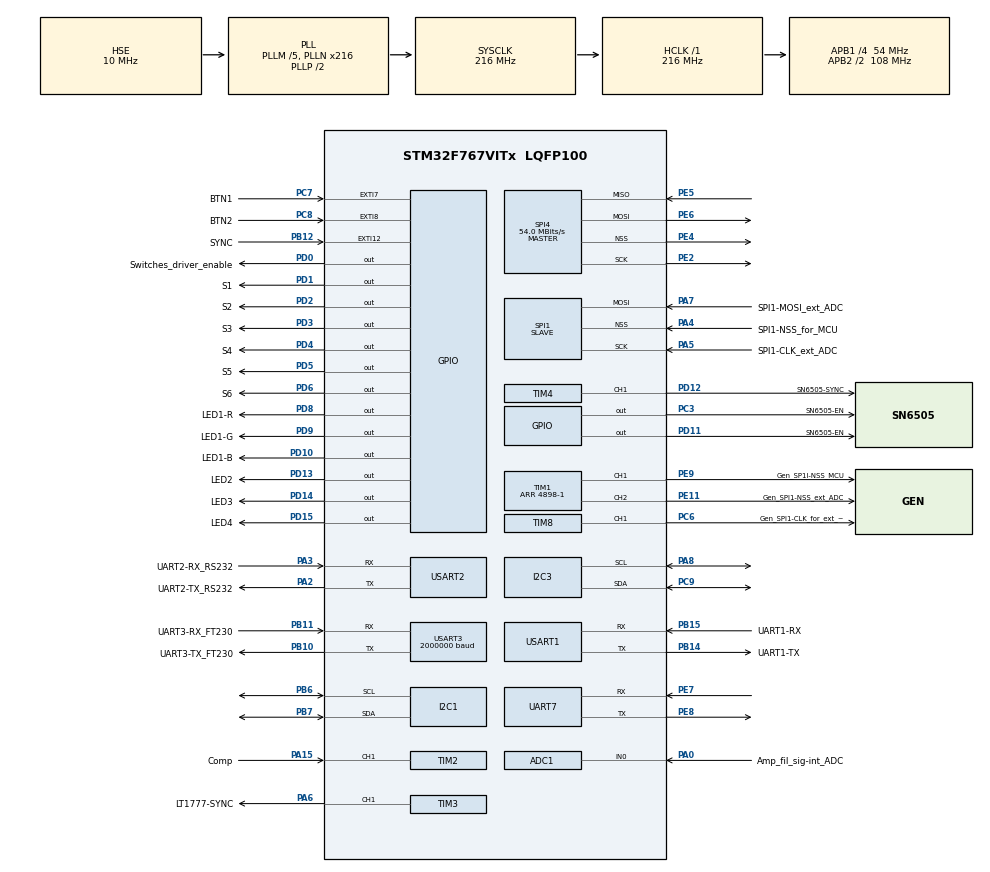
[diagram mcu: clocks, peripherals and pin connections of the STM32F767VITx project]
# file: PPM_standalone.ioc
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ADC1.Channel-1\#ChannelRegularConversion=ADC_CHANNEL_0
ADC1.ExternalTrigConv=ADC_EXTERNALTRIGCONV_T6_TRGO
ADC1.NbrOfConversionFlag=1
ADC1.Rank-1\#ChannelRegularConversion=1
ADC1.SamplingTime-1\#ChannelRegularConversion=ADC_SAMPLETIME_15CYCLES
ADC1.ScanConvMode=ADC_SCAN_DISABLE
ADC1.master=1
Dma.ADC1.1.Direction=DMA_PERIPH_TO_MEMORY
Dma.ADC1.1.FIFOMode=DMA_FIFOMODE_DISABLE
Dma.ADC1.1.Instance=DMA2_Stream4
Dma.ADC1.1.MemDataAlignment=DMA_MDATAALIGN_HALFWORD
Dma.ADC1.1.MemInc=DMA_MINC_ENABLE
Dma.ADC1.1.Mode=DMA_NORMAL
Dma.ADC1.1.PeriphDataAlignment=DMA_PDATAALIGN_HALFWORD
Dma.ADC1.1.PeriphInc=DMA_PINC_DISABLE
Dma.ADC1.1.Priority=DMA_PRIORITY_LOW
Dma.Request0=SPI1_RX
Dma.Request1=ADC1
Dma.Request2=TIM2_CH1
Dma.SPI1_RX.0.Direction=DMA_PERIPH_TO_MEMORY
Dma.SPI1_RX.0.FIFOMode=DMA_FIFOMODE_DISABLE
Dma.SPI1_RX.0.Instance=DMA2_Stream2
Dma.SPI1_RX.0.MemDataAlignment=DMA_MDATAALIGN_HALFWORD
Dma.SPI1_RX.0.MemInc=DMA_MINC_ENABLE
Dma.SPI1_RX.0.Mode=DMA_NORMAL
Dma.SPI1_RX.0.PeriphDataAlignment=DMA_PDATAALIGN_HALFWORD
Dma.SPI1_RX.0.PeriphInc=DMA_PINC_DISABLE
Dma.SPI1_RX.0.Priority=DMA_PRIORITY_MEDIUM
Dma.TIM2_CH1.2.Direction=DMA_PERIPH_TO_MEMORY
Dma.TIM2_CH1.2.FIFOMode=DMA_FIFOMODE_DISABLE
Dma.TIM2_CH1.2.Instance=DMA1_Stream5
Dma.TIM2_CH1.2.MemDataAlignment=DMA_MDATAALIGN_WORD
Dma.TIM2_CH1.2.MemInc=DMA_MINC_ENABLE
Dma.TIM2_CH1.2.Mode=DMA_NORMAL
Dma.TIM2_CH1.2.PeriphDataAlignment=DMA_PDATAALIGN_WORD
Dma.TIM2_CH1.2.PeriphInc=DMA_PINC_DISABLE
Dma.TIM2_CH1.2.Priority=DMA_PRIORITY_LOW
I2C1.Timing=0x20404768
I2C3.Timing=0x20404768
Mcu.Family=STM32F7
Mcu.Name=STM32F767VITx
Mcu.Package=LQFP100
NVIC.DMA1_Stream5_IRQn=true\:0\:0\:false\:false\:true\:false\:true
NVIC.DMA2_Stream2_IRQn=true\:0\:0\:false\:false\:true\:false\:true
NVIC.DMA2_Stream4_IRQn=true\:0\:0\:true\:false\:true\:false\:true
NVIC.EXTI15_10_IRQn=true\:0\:0\:false\:false\:true\:true\:true
NVIC.EXTI9_5_IRQn=true\:0\:0\:false\:false\:true\:true\:true
NVIC.PriorityGroup=NVIC_PRIORITYGROUP_4
NVIC.TIM1_BRK_TIM9_IRQn=true\:0\:0\:false\:false\:true\:true\:true
NVIC.TIM1_UP_TIM10_IRQn=true\:0\:0\:false\:false\:true\:true\:true
NVIC.TIM2_IRQn=true\:1\:0\:true\:false\:true\:true\:true
NVIC.TIM3_IRQn=true\:1\:0\:true\:false\:true\:true\:true
NVIC.TIM4_IRQn=true\:1\:0\:true\:false\:true\:true\:true
NVIC.TIM5_IRQn=true\:1\:0\:true\:false\:true\:true\:true
NVIC.TIM6_DAC_IRQn=true\:1\:0\:true\:false\:true\:true\:true
NVIC.TIM8_CC_IRQn=true\:1\:0\:true\:false\:true\:true\:true
NVIC.USART3_IRQn=true\:0\:0\:true\:false\:true\:true\:true
PA0/WKUP.GPIO_Label=Amp_fil_sig-int_ADC
PA0/WKUP.Signal=ADCx_IN0
PA13.Mode=Trace_Asynchronous_SW
PA13.Signal=SYS_JTMS-SWDIO
PA14.Mode=Trace_Asynchronous_SW
PA14.Signal=SYS_JTCK-SWCLK
PA15.GPIO_Label=Comp
PA15.Signal=S_TIM2_CH1_ETR
PA2.GPIO_Label=UART2-TX_RS232
PA2.Mode=Asynchronous
PA2.Signal=USART2_TX
PA3.GPIO_Label=UART2-RX_RS232
PA3.Mode=Asynchronous
PA3.Signal=USART2_RX
PA4.GPIO_Label=SPI1-NSS_for_MCU
PA4.Mode=NSS_Signal_Hard_Input
PA4.Signal=SPI1_NSS
PA5.GPIO_Label=SPI1-CLK_ext_ADC
PA5.Mode=RX_Only_Simplex_Unidirect_Slave
PA5.Signal=SPI1_SCK
PA6.GPIO_Label=LT1777-SYNC
PA6.Signal=S_TIM3_CH1
PA7.GPIO_Label=SPI1-MOSI_ext_ADC
PA7.Mode=RX_Only_Simplex_Unidirect_Slave
PA7.Signal=SPI1_MOSI
PA8.Mode=I2C
PA8.Signal=I2C3_SCL
PB10.GPIO_Label=UART3-TX_FT230
PB10.Mode=Asynchronous
PB10.Signal=USART3_TX
PB11.GPIO_Label=UART3-RX_FT230
PB11.Mode=Asynchronous
PB11.Signal=USART3_RX
PB12.GPIO_Label=SYNC
PB12.Signal=GPXTI12
PB14.GPIO_Label=UART1-TX
PB14.Mode=Asynchronous
PB14.Signal=USART1_TX
PB15.GPIO_Label=UART1-RX
PB15.Mode=Asynchronous
PB15.Signal=USART1_RX
PB3.Mode=Trace_Asynchronous_SW
PB3.Signal=SYS_JTDO-SWO
PB6.Mode=I2C
PB6.Signal=I2C1_SCL
PB7.Mode=I2C
PB7.Signal=I2C1_SDA
PC14/OSC32_IN.Mode=LSE-External-Oscillator
PC14/OSC32_IN.Signal=RCC_OSC32_IN
PC15/OSC32_OUT.Mode=LSE-External-Oscillator
PC15/OSC32_OUT.Signal=RCC_OSC32_OUT
PC3.GPIO_Label=SN6505-EN
PC3.Signal=GPIO_Output
PC6.GPIO_Label=Gen_SPI1-CLK_for_ext_ADC
PC6.Signal=S_TIM8_CH1
PC7.GPIO_Label=BTN1
PC7.GPIO_ModeDefaultEXTI=GPIO_MODE_IT_FALLING
PC7.Signal=GPXTI7
PC8.GPIO_Label=BTN2
PC8.GPIO_ModeDefaultEXTI=GPIO_MODE_IT_FALLING
PC8.Signal=GPXTI8
PC9.Mode=I2C
PC9.Signal=I2C3_SDA
PD0.GPIO_Label=Switches_driver_enable
PD0.Signal=GPIO_Output
PD1.GPIO_Label=S1
PD1.Signal=GPIO_Output
PD10.GPIO_Label=LED1-B
PD10.Signal=GPIO_Output
PD11.GPIO_Label=SN6505-EN
PD11.Signal=GPIO_Output
PD12.GPIO_Label=SN6505-SYNC
PD12.Signal=S_TIM4_CH1
PD13.GPIO_Label=LED2
PD13.Signal=GPIO_Output
PD14.GPIO_Label=LED3
PD14.Signal=GPIO_Output
PD15.GPIO_Label=LED4
PD15.Signal=GPIO_Output
PD2.GPIO_Label=S2
PD2.Signal=GPIO_Output
PD3.GPIO_Label=S3
PD3.Signal=GPIO_Output
PD4.GPIO_Label=S4
PD4.Signal=GPIO_Output
PD5.GPIO_Label=S5
PD5.Signal=GPIO_Output
PD6.GPIO_Label=S6
PD6.Signal=GPIO_Output
PD8.GPIO_Label=LED1-R
PD8.Signal=GPIO_Output
PD9.GPIO_Label=LED1-G
PD9.Signal=GPIO_Output
PE11.GPIO_Label=Gen_SPI1-NSS_ext_ADC
PE11.Signal=S_TIM1_CH2
PE2.Mode=Full_Duplex_Master
PE2.Signal=SPI4_SCK
PE4.Mode=NSS_Signal_Hard_Output
PE4.Signal=SPI4_NSS
PE5.Mode=Full_Duplex_Master
PE5.Signal=SPI4_MISO
PE6.Mode=Full_Duplex_Master
PE6.Signal=SPI4_MOSI
PE7.Mode=Asynchronous
PE7.Signal=UART7_RX
PE8.Mode=Asynchronous
PE8.Signal=UART7_TX
PE9.GPIO_Label=Gen_SP1I-NSS_MCU
PE9.Signal=S_TIM1_CH1
PH0/OSC_IN.Mode=HSE-External-Oscillator
PH0/OSC_IN.Signal=RCC_OSC_IN
PH1/OSC_OUT.Mode=HSE-External-Oscillator
PH1/OSC_OUT.Signal=RCC_OSC_OUT
ProjectManager.HeapSize=0x200
ProjectManager.StackSize=0x400
ProjectManager.TargetToolchain=STM32CubeIDE
RCC.AHBFreq_Value=216000000
RCC.APB1CLKDivider=RCC_HCLK_DIV4
RCC.APB1Freq_Value=54000000
RCC.APB1TimFreq_Value=216000000
RCC.APB2CLKDivider=RCC_HCLK_DIV2
RCC.APB2Freq_Value=108000000
RCC.APB2TimFreq_Value=216000000
RCC.CortexFreq_Value=216000000
RCC.HCLKFreq_Value=216000000
RCC.HSE_VALUE=10000000
RCC.HSI_VALUE=16000000
RCC.PLLM=5
RCC.PLLN=216
RCC.PLLSourceVirtual=RCC_PLLSOURCE_HSE
RCC.RCC_TIM_PRescaler_Selection=RCC_TIMPRES_ACTIVATED
RCC.SYSCLKFreq_VALUE=216000000
RCC.SYSCLKSource=RCC_SYSCLKSOURCE_PLLCLK
RCC.USBFreq_Value=216000000
RCC.VCOOutputFreq_Value=432000000
SH.ADCx_IN0.0=ADC1_IN0,IN0
SH.S_TIM1_CH1.0=TIM1_CH1,PWM Generation1 CH1
SH.S_TIM1_CH2.0=TIM1_CH2,PWM Generation2 CH2
SH.S_TIM2_CH1_ETR.0=TIM2_CH1,Input_Capture1_from_TI1
SH.S_TIM3_CH1.0=TIM3_CH1,PWM Generation1 CH1
SH.S_TIM4_CH1.0=TIM4_CH1,PWM Generation1 CH1
SH.S_TIM8_CH1.0=TIM8_CH1,PWM Generation1 CH1
SPI1.DataSize=SPI_DATASIZE_16BIT
SPI1.Direction=SPI_DIRECTION_2LINES_RXONLY
SPI1.Mode=SPI_MODE_SLAVE
SPI1.VirtualNSS=VM_NSSHARD
SPI1.VirtualType=VM_SLAVE
SPI4.BaudRatePrescaler=SPI_BAUDRATEPRESCALER_2
SPI4.CalculateBaudRate=54.0 MBits/s
SPI4.Direction=SPI_DIRECTION_2LINES
SPI4.Mode=SPI_MODE_MASTER
SPI4.VirtualNSS=VM_NSSHARD
SPI4.VirtualType=VM_MASTER
TIM1.Channel-PWM\ Generation1\ CH1=TIM_CHANNEL_1
TIM1.Channel-PWM\ Generation2\ CH2=TIM_CHANNEL_2
TIM1.OCIdleState_1=TIM_OCIDLESTATE_SET
TIM1.OCIdleState_2=TIM_OCIDLESTATE_SET
TIM1.OCMode_PWM-PWM\ Generation1\ CH1=TIM_OCMODE_PWM2
TIM1.OCPolarity_1=TIM_OCPOLARITY_LOW
TIM1.OCPolarity_2=TIM_OCPOLARITY_LOW
TIM1.Period=4898-1
TIM1.Pulse-PWM\ Generation1\ CH1=864+10
TIM1.Pulse-PWM\ Generation2\ CH2=3000
TIM1.TIM_MasterOutputTrigger=TIM_TRGO_UPDATE
TIM1.TIM_MasterSlaveMode=TIM_MASTERSLAVEMODE_ENABLE
TIM2.Channel-Input_Capture1_from_TI1=TIM_CHANNEL_1
TIM2.Period=0xffffffff
TIM3.Channel-PWM\ Generation1\ CH1=TIM_CHANNEL_1
TIM4.AutoReloadPreload=TIM_AUTORELOAD_PRELOAD_ENABLE
TIM4.Channel-PWM\ Generation1\ CH1=TIM_CHANNEL_1
TIM4.Period=0
TIM4.TIM_MasterOutputTrigger=TIM_TRGO_UPDATE
TIM5.Period=(21600/2) -1
TIM6.AutoReloadPreload=TIM_AUTORELOAD_PRELOAD_DISABLE
TIM6.Period=4898-1
TIM6.TIM_MasterOutputTrigger=TIM_TRGO_UPDATE
TIM8.Channel-PWM\ Generation1\ CH1=TIM_CHANNEL_1
TIM8.OCMode_PWM-PWM\ Generation1\ CH1=TIM_OCMODE_PWM2
TIM8.Period=108-1
TIM8.Pulse-PWM\ Generation1\ CH1=54
TIM8.RepetitionCounter=24
USART1.VirtualMode-Asynchronous=VM_ASYNC
USART2.VirtualMode-Asynchronous=VM_ASYNC
USART3.BaudRate=2000000
USART3.StopBits=STOPBITS_1
USART3.VirtualMode-Asynchronous=VM_ASYNC
VP_TIM1_VS_ClockSourceINT.Mode=Internal
VP_TIM3_VS_ClockSourceITR.Mode=TriggerSource_ITR0
VP_TIM5_VS_ClockSourceINT.Mode=Internal
VP_TIM6_VS_ClockSourceINT.Mode=Enable_Timer
VP_TIM8_VS_ClockSourceINT.Mode=Internal
VP_TIM8_VS_ClockSourceITR.Mode=TriggerSource_ITR0
VP_TIM8_VS_ControllerModeTrigger.Mode=Trigger Mode
VP_TIM8_VS_OPM.Mode=OPM_bit
board=custom

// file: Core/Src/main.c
/* USER CODE BEGIN Header */
/**
 ******************************************************************************
 * @file           : main.c
 * @brief          : Main program body
 ******************************************************************************
 * @attention
 *
 * <h2><center>&copy; Copyright (c) 2020 STMicroelectronics.
 * All rights reserved.</center></h2>
 *
 * This software component is licensed by ST under BSD 3-Clause license,
 * the "License"; You may not use this file except in compliance with the
 * License. You may obtain a copy of the License at:
 *                        opensource.org/licenses/BSD-3-Clause
 *
 ******************************************************************************
 */
/* USER CODE END Header */

#include "main.h"

/* USER CODE BEGIN Includes */
#include "float.h"
#include "string.h"
#include "stdio.h"
#include <stdlib.h>
#include "config.h"
#include "communication.h"
#include "delay.h"
#include "switchingCircuitController.h"

/* USER CODE END Includes */

/* USER CODE BEGIN PD */
#define TIMER  TIM4
/* USER CODE END PD */

ADC_HandleTypeDef hadc1;
DMA_HandleTypeDef hdma_adc1;

I2C_HandleTypeDef hi2c1;
I2C_HandleTypeDef hi2c3;

SPI_HandleTypeDef hspi1;
SPI_HandleTypeDef hspi4;
DMA_HandleTypeDef hdma_spi1_rx;

TIM_HandleTypeDef htim1;
TIM_HandleTypeDef htim2;
TIM_HandleTypeDef htim3;
TIM_HandleTypeDef htim4;
TIM_HandleTypeDef htim5;
TIM_HandleTypeDef htim6;
TIM_HandleTypeDef htim8;
DMA_HandleTypeDef hdma_tim2_ch1;

UART_HandleTypeDef huart7;
UART_HandleTypeDef huart1;
UART_HandleTypeDef huart2;
UART_HandleTypeDef huart3;

/* USER CODE BEGIN PV */

uint8_t filledBuffersExtADC = 0;
uint8_t filledBuffersIntADC = 0;
uint32_t samplesTotal = 44100 * 2;

uint32_t IC_Value1 = 0;
uint32_t IC_Value2 = 0;
uint32_t difference = 0;
uint32_t frequency = 0;
uint8_t firstCapturedSample = 0;  // 0- not captured, 1- captured

/* USER CODE END PV */

void SystemClock_Config(void);
static void MX_GPIO_Init(void);
static void MX_DMA_Init(void);
static void MX_ADC1_Init(void);
static void MX_SPI1_Init(void);
static void MX_TIM1_Init(void);
static void MX_TIM2_Init(void);
static void MX_TIM3_Init(void);
static void MX_TIM4_Init(void);
static void MX_TIM8_Init(void);
static void MX_USART1_UART_Init(void);
static void MX_USART2_UART_Init(void);
static void MX_USART3_UART_Init(void);
static void MX_I2C1_Init(void);
static void MX_I2C3_Init(void);
static void MX_SPI4_Init(void);
static void MX_TIM5_Init(void);
static void MX_UART7_Init(void);
static void MX_TIM6_Init(void);

int main(void) {

	/* MCU Configuration--------------------------------------------------------*/

	/* Reset of all peripherals, Initializes the Flash interface and the Systick. */
	HAL_Init();

	/* Configure the system clock */
	SystemClock_Config();

	/* Initialize all configured peripherals */
	MX_GPIO_Init();
	MX_DMA_Init();
	MX_ADC1_Init();
	MX_SPI1_Init();
	MX_TIM1_Init();
	MX_TIM2_Init();
	MX_TIM3_Init();
	MX_TIM4_Init();
	MX_TIM8_Init();
	MX_USART1_UART_Init();
	MX_USART2_UART_Init();
	MX_USART3_UART_Init();
	MX_I2C1_Init();
	MX_I2C3_Init();
	MX_SPI4_Init();
	MX_TIM5_Init();
	MX_UART7_Init();
	MX_TIM6_Init();
	/* USER CODE BEGIN 2 */
	initialization();
	HAL_Delay(10);
	/* USER CODE END 2 */

	/* Infinite loop */
	while (1) {

		/* USER CODE BEGIN 3 */

		//parse text every time before polarization
		if (newDataInBuffer()) {
			parseText(huart3);
		}

		// if new measurement technique was updated - change state regarding to the update
		if (stateCanBeUpdated()) {
			updateState();
		}

		// normal mode with polarization
		if (ploarizationCanRun()) {
			runPolarizationSequence();
			if (dataReadyToSendBeforeMeasurement()) {
				sendMeasuredData(huart3);
			}
		}

		// measurement
		if (measurementCanRun()) {
			runMeasurementMethod();
		}

		//
		if (dataReadyToSendAfterMeasurement()) {
			sendMeasuredData(huart3);
		}
		if (isWaitingForSync()) {
			set_LED1(0, 0, 1);
		}

		// idle state - if no method is active and there are no data to be sent
		if (stateIsIdle()) {
			set_LED1(0, 0, 0);
		}

	}

	/* USER CODE END 3 */
}

void SystemClock_Config(void) {
	RCC_OscInitTypeDef RCC_OscInitStruct = { 0 };
	RCC_ClkInitTypeDef RCC_ClkInitStruct = { 0 };
	RCC_PeriphCLKInitTypeDef PeriphClkInitStruct = { 0 };

	/** Configure LSE Drive Capability
	 */
	HAL_PWR_EnableBkUpAccess();
	/** Configure the main internal regulator output voltage
	 */
	__HAL_RCC_PWR_CLK_ENABLE();
	__HAL_PWR_VOLTAGESCALING_CONFIG(PWR_REGULATOR_VOLTAGE_SCALE1);
	/** Initializes the CPU, AHB and APB busses clocks
	 */
	RCC_OscInitStruct.OscillatorType = RCC_OSCILLATORTYPE_HSE;
	RCC_OscInitStruct.HSEState = RCC_HSE_ON;
	RCC_OscInitStruct.PLL.PLLState = RCC_PLL_ON;
	RCC_OscInitStruct.PLL.PLLSource = RCC_PLLSOURCE_HSE;
	RCC_OscInitStruct.PLL.PLLM = 5;
	RCC_OscInitStruct.PLL.PLLN = 216;
	RCC_OscInitStruct.PLL.PLLP = RCC_PLLP_DIV2;
	RCC_OscInitStruct.PLL.PLLQ = 2;
	if (HAL_RCC_OscConfig(&RCC_OscInitStruct) != HAL_OK) {
		Error_Handler();
	}
	/** Activate the Over-Drive mode
	 */
	if (HAL_PWREx_EnableOverDrive() != HAL_OK) {
		Error_Handler();
	}
	/** Initializes the CPU, AHB and APB busses clocks
	 */
	RCC_ClkInitStruct.ClockType = RCC_CLOCKTYPE_HCLK | RCC_CLOCKTYPE_SYSCLK | RCC_CLOCKTYPE_PCLK1 | RCC_CLOCKTYPE_PCLK2;
	RCC_ClkInitStruct.SYSCLKSource = RCC_SYSCLKSOURCE_PLLCLK;
	RCC_ClkInitStruct.AHBCLKDivider = RCC_SYSCLK_DIV1;
	RCC_ClkInitStruct.APB1CLKDivider = RCC_HCLK_DIV4;
	RCC_ClkInitStruct.APB2CLKDivider = RCC_HCLK_DIV2;

	if (HAL_RCC_ClockConfig(&RCC_ClkInitStruct, FLASH_LATENCY_7) != HAL_OK) {
		Error_Handler();
	}
	PeriphClkInitStruct.PeriphClockSelection = RCC_PERIPHCLK_TIM | RCC_PERIPHCLK_USART1 | RCC_PERIPHCLK_USART2 | RCC_PERIPHCLK_USART3 | RCC_PERIPHCLK_UART7 | RCC_PERIPHCLK_I2C1 | RCC_PERIPHCLK_I2C3;
	PeriphClkInitStruct.Usart1ClockSelection = RCC_USART1CLKSOURCE_PCLK2;
	PeriphClkInitStruct.Usart2ClockSelection = RCC_USART2CLKSOURCE_PCLK1;
	PeriphClkInitStruct.Usart3ClockSelection = RCC_USART3CLKSOURCE_PCLK1;
	PeriphClkInitStruct.Uart7ClockSelection = RCC_UART7CLKSOURCE_PCLK1;
	PeriphClkInitStruct.I2c1ClockSelection = RCC_I2C1CLKSOURCE_PCLK1;
	PeriphClkInitStruct.I2c3ClockSelection = RCC_I2C3CLKSOURCE_PCLK1;
	PeriphClkInitStruct.TIMPresSelection = RCC_TIMPRES_ACTIVATED;

	if (HAL_RCCEx_PeriphCLKConfig(&PeriphClkInitStruct) != HAL_OK) {
		Error_Handler();
	}
}

static void MX_ADC1_Init(void) {

	ADC_ChannelConfTypeDef sConfig = { 0 };

	/** Configure the global features of the ADC (Clock, Resolution, Data Alignment and number of conversion)
	 */
	hadc1.Instance = ADC1;
	hadc1.Init.ClockPrescaler = ADC_CLOCK_SYNC_PCLK_DIV4;
	hadc1.Init.Resolution = ADC_RESOLUTION_12B;
	hadc1.Init.ScanConvMode = ADC_SCAN_DISABLE;
	hadc1.Init.ContinuousConvMode = DISABLE;
	hadc1.Init.DiscontinuousConvMode = DISABLE;
	hadc1.Init.ExternalTrigConvEdge = ADC_EXTERNALTRIGCONVEDGE_RISING;
	hadc1.Init.ExternalTrigConv = ADC_EXTERNALTRIGCONV_T6_TRGO;
	hadc1.Init.DataAlign = ADC_DATAALIGN_RIGHT;
	hadc1.Init.NbrOfConversion = 1;
	hadc1.Init.DMAContinuousRequests = DISABLE;
	hadc1.Init.EOCSelection = ADC_EOC_SINGLE_CONV;
	if (HAL_ADC_Init(&hadc1) != HAL_OK) {
		Error_Handler();
	}
	/** Configure for the selected ADC regular channel its corresponding rank in the sequencer and its sample time.
	 */
	sConfig.Channel = ADC_CHANNEL_0;
	sConfig.Rank = ADC_REGULAR_RANK_1;
	sConfig.SamplingTime = ADC_SAMPLETIME_15CYCLES;
	if (HAL_ADC_ConfigChannel(&hadc1, &sConfig) != HAL_OK) {
		Error_Handler();
	}

}

static void MX_I2C1_Init(void) {

	hi2c1.Instance = I2C1;
	hi2c1.Init.Timing = 0x20404768;
	hi2c1.Init.OwnAddress1 = 0;
	hi2c1.Init.AddressingMode = I2C_ADDRESSINGMODE_7BIT;
	hi2c1.Init.DualAddressMode = I2C_DUALADDRESS_DISABLE;
	hi2c1.Init.OwnAddress2 = 0;
	hi2c1.Init.OwnAddress2Masks = I2C_OA2_NOMASK;
	hi2c1.Init.GeneralCallMode = I2C_GENERALCALL_DISABLE;
	hi2c1.Init.NoStretchMode = I2C_NOSTRETCH_DISABLE;
	if (HAL_I2C_Init(&hi2c1) != HAL_OK) {
		Error_Handler();
	}
	/** Configure Analogue filter
	 */
	if (HAL_I2CEx_ConfigAnalogFilter(&hi2c1, I2C_ANALOGFILTER_ENABLE) != HAL_OK) {
		Error_Handler();
	}
	/** Configure Digital filter
	 */
	if (HAL_I2CEx_ConfigDigitalFilter(&hi2c1, 0) != HAL_OK) {
		Error_Handler();
	}

}

static void MX_I2C3_Init(void) {

	hi2c3.Instance = I2C3;
	hi2c3.Init.Timing = 0x20404768;
	hi2c3.Init.OwnAddress1 = 0;
	hi2c3.Init.AddressingMode = I2C_ADDRESSINGMODE_7BIT;
	hi2c3.Init.DualAddressMode = I2C_DUALADDRESS_DISABLE;
	hi2c3.Init.OwnAddress2 = 0;
	hi2c3.Init.OwnAddress2Masks = I2C_OA2_NOMASK;
	hi2c3.Init.GeneralCallMode = I2C_GENERALCALL_DISABLE;
	hi2c3.Init.NoStretchMode = I2C_NOSTRETCH_DISABLE;
	if (HAL_I2C_Init(&hi2c3) != HAL_OK) {
		Error_Handler();
	}
	/** Configure Analogue filter
	 */
	if (HAL_I2CEx_ConfigAnalogFilter(&hi2c3, I2C_ANALOGFILTER_ENABLE) != HAL_OK) {
		Error_Handler();
	}
	/** Configure Digital filter
	 */
	if (HAL_I2CEx_ConfigDigitalFilter(&hi2c3, 0) != HAL_OK) {
		Error_Handler();
	}

}

static void MX_SPI1_Init(void) {

	/* SPI1 parameter configuration*/
	hspi1.Instance = SPI1;
	hspi1.Init.Mode = SPI_MODE_SLAVE;
	hspi1.Init.Direction = SPI_DIRECTION_2LINES_RXONLY;
	hspi1.Init.DataSize = SPI_DATASIZE_16BIT;
	hspi1.Init.CLKPolarity = SPI_POLARITY_LOW;
	hspi1.Init.CLKPhase = SPI_PHASE_1EDGE;
	hspi1.Init.NSS = SPI_NSS_HARD_INPUT;
	hspi1.Init.FirstBit = SPI_FIRSTBIT_MSB;
	hspi1.Init.TIMode = SPI_TIMODE_DISABLE;
	hspi1.Init.CRCCalculation = SPI_CRCCALCULATION_DISABLE;
	hspi1.Init.CRCPolynomial = 7;
	hspi1.Init.CRCLength = SPI_CRC_LENGTH_DATASIZE;
	hspi1.Init.NSSPMode = SPI_NSS_PULSE_DISABLE;
	if (HAL_SPI_Init(&hspi1) != HAL_OK) {
		Error_Handler();
	}

}

static void MX_SPI4_Init(void) {

	/* SPI4 parameter configuration*/
	hspi4.Instance = SPI4;
	hspi4.Init.Mode = SPI_MODE_MASTER;
	hspi4.Init.Direction = SPI_DIRECTION_2LINES;
	hspi4.Init.DataSize = SPI_DATASIZE_4BIT;
	hspi4.Init.CLKPolarity = SPI_POLARITY_LOW;
	hspi4.Init.CLKPhase = SPI_PHASE_1EDGE;
	hspi4.Init.NSS = SPI_NSS_HARD_OUTPUT;
	hspi4.Init.BaudRatePrescaler = SPI_BAUDRATEPRESCALER_2;
	hspi4.Init.FirstBit = SPI_FIRSTBIT_MSB;
	hspi4.Init.TIMode = SPI_TIMODE_DISABLE;
	hspi4.Init.CRCCalculation = SPI_CRCCALCULATION_DISABLE;
	hspi4.Init.CRCPolynomial = 7;
	hspi4.Init.CRCLength = SPI_CRC_LENGTH_DATASIZE;
	hspi4.Init.NSSPMode = SPI_NSS_PULSE_ENABLE;
	if (HAL_SPI_Init(&hspi4) != HAL_OK) {
		Error_Handler();
	}

}

static void MX_TIM1_Init(void) {

	TIM_ClockConfigTypeDef sClockSourceConfig = { 0 };
	TIM_MasterConfigTypeDef sMasterConfig = { 0 };
	TIM_OC_InitTypeDef sConfigOC = { 0 };
	TIM_BreakDeadTimeConfigTypeDef sBreakDeadTimeConfig = { 0 };

	htim1.Instance = TIM1;
	htim1.Init.Prescaler = 0;
	htim1.Init.CounterMode = TIM_COUNTERMODE_UP;
	htim1.Init.Period = 4898 - 1;
	htim1.Init.ClockDivision = TIM_CLOCKDIVISION_DIV1;
	htim1.Init.RepetitionCounter = 0;
	htim1.Init.AutoReloadPreload = TIM_AUTORELOAD_PRELOAD_DISABLE;
	if (HAL_TIM_Base_Init(&htim1) != HAL_OK) {
		Error_Handler();
	}
	sClockSourceConfig.ClockSource = TIM_CLOCKSOURCE_INTERNAL;
	if (HAL_TIM_ConfigClockSource(&htim1, &sClockSourceConfig) != HAL_OK) {
		Error_Handler();
	}
	if (HAL_TIM_PWM_Init(&htim1) != HAL_OK) {
		Error_Handler();
	}
	sMasterConfig.MasterOutputTrigger = TIM_TRGO_UPDATE;
	sMasterConfig.MasterOutputTrigger2 = TIM_TRGO2_RESET;
	sMasterConfig.MasterSlaveMode = TIM_MASTERSLAVEMODE_ENABLE;
	if (HAL_TIMEx_MasterConfigSynchronization(&htim1, &sMasterConfig) != HAL_OK) {
		Error_Handler();
	}
	sConfigOC.OCMode = TIM_OCMODE_PWM2;
	sConfigOC.Pulse = 864 + 10;
	sConfigOC.OCPolarity = TIM_OCPOLARITY_LOW;
	sConfigOC.OCNPolarity = TIM_OCNPOLARITY_HIGH;
	sConfigOC.OCFastMode = TIM_OCFAST_DISABLE;
	sConfigOC.OCIdleState = TIM_OCIDLESTATE_SET;
	sConfigOC.OCNIdleState = TIM_OCNIDLESTATE_RESET;
	if (HAL_TIM_PWM_ConfigChannel(&htim1, &sConfigOC, TIM_CHANNEL_1) != HAL_OK) {
		Error_Handler();
	}
	sConfigOC.OCMode = TIM_OCMODE_PWM1;
	sConfigOC.Pulse = 3000;
	if (HAL_TIM_PWM_ConfigChannel(&htim1, &sConfigOC, TIM_CHANNEL_2) != HAL_OK) {
		Error_Handler();
	}
	sBreakDeadTimeConfig.OffStateRunMode = TIM_OSSR_DISABLE;
	sBreakDeadTimeConfig.OffStateIDLEMode = TIM_OSSI_DISABLE;
	sBreakDeadTimeConfig.LockLevel = TIM_LOCKLEVEL_OFF;
	sBreakDeadTimeConfig.DeadTime = 0;
	sBreakDeadTimeConfig.BreakState = TIM_BREAK_DISABLE;
	sBreakDeadTimeConfig.BreakPolarity = TIM_BREAKPOLARITY_HIGH;
	sBreakDeadTimeConfig.BreakFilter = 0;
	sBreakDeadTimeConfig.Break2State = TIM_BREAK2_DISABLE;
	sBreakDeadTimeConfig.Break2Polarity = TIM_BREAK2POLARITY_HIGH;
	sBreakDeadTimeConfig.Break2Filter = 0;
	sBreakDeadTimeConfig.AutomaticOutput = TIM_AUTOMATICOUTPUT_DISABLE;
	if (HAL_TIMEx_ConfigBreakDeadTime(&htim1, &sBreakDeadTimeConfig) != HAL_OK) {
		Error_Handler();
	}
	HAL_TIM_MspPostInit(&htim1);

}

static void MX_TIM2_Init(void) {

	TIM_MasterConfigTypeDef sMasterConfig = { 0 };
	TIM_IC_InitTypeDef sConfigIC = { 0 };

	htim2.Instance = TIM2;
	htim2.Init.Prescaler = 0;
	htim2.Init.CounterMode = TIM_COUNTERMODE_UP;
	htim2.Init.Period = 0xffffffff;
	htim2.Init.ClockDivision = TIM_CLOCKDIVISION_DIV1;
	htim2.Init.AutoReloadPreload = TIM_AUTORELOAD_PRELOAD_DISABLE;
	if (HAL_TIM_IC_Init(&htim2) != HAL_OK) {
		Error_Handler();
	}
	sMasterConfig.MasterOutputTrigger = TIM_TRGO_RESET;
	sMasterConfig.MasterSlaveMode = TIM_MASTERSLAVEMODE_DISABLE;
	if (HAL_TIMEx_MasterConfigSynchronization(&htim2, &sMasterConfig) != HAL_OK) {
		Error_Handler();
	}
	sConfigIC.ICPolarity = TIM_INPUTCHANNELPOLARITY_RISING;
	sConfigIC.ICSelection = TIM_ICSELECTION_DIRECTTI;
	sConfigIC.ICPrescaler = TIM_ICPSC_DIV1;
	sConfigIC.ICFilter = 0;
	if (HAL_TIM_IC_ConfigChannel(&htim2, &sConfigIC, TIM_CHANNEL_1) != HAL_OK) {
		Error_Handler();
	}

}

static void MX_TIM3_Init(void) {

	TIM_SlaveConfigTypeDef sSlaveConfig = { 0 };
	TIM_MasterConfigTypeDef sMasterConfig = { 0 };
	TIM_OC_InitTypeDef sConfigOC = { 0 };

	htim3.Instance = TIM3;
	htim3.Init.Prescaler = 0;
	htim3.Init.CounterMode = TIM_COUNTERMODE_UP;
	htim3.Init.Period = 0;
	htim3.Init.ClockDivision = TIM_CLOCKDIVISION_DIV1;
	htim3.Init.AutoReloadPreload = TIM_AUTORELOAD_PRELOAD_DISABLE;
	if (HAL_TIM_Base_Init(&htim3) != HAL_OK) {
		Error_Handler();
	}
	if (HAL_TIM_PWM_Init(&htim3) != HAL_OK) {
		Error_Handler();
	}
	sSlaveConfig.SlaveMode = TIM_SLAVEMODE_DISABLE;
	sSlaveConfig.InputTrigger = TIM_TS_ITR0;
	if (HAL_TIM_SlaveConfigSynchro(&htim3, &sSlaveConfig) != HAL_OK) {
		Error_Handler();
	}
	sMasterConfig.MasterOutputTrigger = TIM_TRGO_RESET;
	sMasterConfig.MasterSlaveMode = TIM_MASTERSLAVEMODE_DISABLE;
	if (HAL_TIMEx_MasterConfigSynchronization(&htim3, &sMasterConfig) != HAL_OK) {
		Error_Handler();
	}
	sConfigOC.OCMode = TIM_OCMODE_PWM1;
	sConfigOC.Pulse = 0;
	sConfigOC.OCPolarity = TIM_OCPOLARITY_HIGH;
	sConfigOC.OCFastMode = TIM_OCFAST_DISABLE;
	if (HAL_TIM_PWM_ConfigChannel(&htim3, &sConfigOC, TIM_CHANNEL_1) != HAL_OK) {
		Error_Handler();
	}
	HAL_TIM_MspPostInit(&htim3);

}

static void MX_TIM4_Init(void) {

	TIM_MasterConfigTypeDef sMasterConfig = { 0 };
	TIM_OC_InitTypeDef sConfigOC = { 0 };

	htim4.Instance = TIM4;
	htim4.Init.Prescaler = 0;
	htim4.Init.CounterMode = TIM_COUNTERMODE_UP;
	htim4.Init.Period = 0;
	htim4.Init.ClockDivision = TIM_CLOCKDIVISION_DIV1;
	htim4.Init.AutoReloadPreload = TIM_AUTORELOAD_PRELOAD_ENABLE;
	if (HAL_TIM_PWM_Init(&htim4) != HAL_OK) {
		Error_Handler();
	}
	sMasterConfig.MasterOutputTrigger = TIM_TRGO_UPDATE;
	sMasterConfig.MasterSlaveMode = TIM_MASTERSLAVEMODE_DISABLE;
	if (HAL_TIMEx_MasterConfigSynchronization(&htim4, &sMasterConfig) != HAL_OK) {
		Error_Handler();
	}
	sConfigOC.OCMode = TIM_OCMODE_PWM1;
	sConfigOC.Pulse = 0;
	sConfigOC.OCPolarity = TIM_OCPOLARITY_HIGH;
	sConfigOC.OCFastMode = TIM_OCFAST_DISABLE;
	if (HAL_TIM_PWM_ConfigChannel(&htim4, &sConfigOC, TIM_CHANNEL_1) != HAL_OK) {
		Error_Handler();
	}
	HAL_TIM_MspPostInit(&htim4);

}

static void MX_TIM5_Init(void) {

	TIM_ClockConfigTypeDef sClockSourceConfig = { 0 };
	TIM_MasterConfigTypeDef sMasterConfig = { 0 };

	htim5.Instance = TIM5;
	htim5.Init.Prescaler = 0;
	htim5.Init.CounterMode = TIM_COUNTERMODE_UP;
	htim5.Init.Period = (21600 / 2) - 1;
	htim5.Init.ClockDivision = TIM_CLOCKDIVISION_DIV1;
	htim5.Init.AutoReloadPreload = TIM_AUTORELOAD_PRELOAD_DISABLE;
	if (HAL_TIM_Base_Init(&htim5) != HAL_OK) {
		Error_Handler();
	}
	sClockSourceConfig.ClockSource = TIM_CLOCKSOURCE_INTERNAL;
	if (HAL_TIM_ConfigClockSource(&htim5, &sClockSourceConfig) != HAL_OK) {
		Error_Handler();
	}
	sMasterConfig.MasterOutputTrigger = TIM_TRGO_RESET;
	sMasterConfig.MasterSlaveMode = TIM_MASTERSLAVEMODE_DISABLE;
	if (HAL_TIMEx_MasterConfigSynchronization(&htim5, &sMasterConfig) != HAL_OK) {
		Error_Handler();
	}

}

static void MX_TIM6_Init(void) {

	TIM_MasterConfigTypeDef sMasterConfig = { 0 };

	htim6.Instance = TIM6;
	htim6.Init.Prescaler = 0;
	htim6.Init.CounterMode = TIM_COUNTERMODE_UP;
	htim6.Init.Period = 4898 - 1;
	htim6.Init.AutoReloadPreload = TIM_AUTORELOAD_PRELOAD_DISABLE;
	if (HAL_TIM_Base_Init(&htim6) != HAL_OK) {
		Error_Handler();
	}
	sMasterConfig.MasterOutputTrigger = TIM_TRGO_UPDATE;
	sMasterConfig.MasterSlaveMode = TIM_MASTERSLAVEMODE_DISABLE;
	if (HAL_TIMEx_MasterConfigSynchronization(&htim6, &sMasterConfig) != HAL_OK) {
		Error_Handler();
	}

}

static void MX_TIM8_Init(void) {

	TIM_ClockConfigTypeDef sClockSourceConfig = { 0 };
	TIM_SlaveConfigTypeDef sSlaveConfig = { 0 };
	TIM_MasterConfigTypeDef sMasterConfig = { 0 };
	TIM_OC_InitTypeDef sConfigOC = { 0 };
	TIM_BreakDeadTimeConfigTypeDef sBreakDeadTimeConfig = { 0 };

	htim8.Instance = TIM8;
	htim8.Init.Prescaler = 0;
	htim8.Init.CounterMode = TIM_COUNTERMODE_UP;
	htim8.Init.Period = 108 - 1;
	htim8.Init.ClockDivision = TIM_CLOCKDIVISION_DIV1;
	htim8.Init.RepetitionCounter = 24;
	htim8.Init.AutoReloadPreload = TIM_AUTORELOAD_PRELOAD_DISABLE;
	if (HAL_TIM_Base_Init(&htim8) != HAL_OK) {
		Error_Handler();
	}
	sClockSourceConfig.ClockSource = TIM_CLOCKSOURCE_INTERNAL;
	if (HAL_TIM_ConfigClockSource(&htim8, &sClockSourceConfig) != HAL_OK) {
		Error_Handler();
	}
	if (HAL_TIM_PWM_Init(&htim8) != HAL_OK) {
		Error_Handler();
	}
	if (HAL_TIM_OnePulse_Init(&htim8, TIM_OPMODE_SINGLE) != HAL_OK) {
		Error_Handler();
	}
	sSlaveConfig.SlaveMode = TIM_SLAVEMODE_TRIGGER;
	sSlaveConfig.InputTrigger = TIM_TS_ITR0;
	if (HAL_TIM_SlaveConfigSynchro(&htim8, &sSlaveConfig) != HAL_OK) {
		Error_Handler();
	}
	sMasterConfig.MasterOutputTrigger = TIM_TRGO_RESET;
	sMasterConfig.MasterOutputTrigger2 = TIM_TRGO2_RESET;
	sMasterConfig.MasterSlaveMode = TIM_MASTERSLAVEMODE_DISABLE;
	if (HAL_TIMEx_MasterConfigSynchronization(&htim8, &sMasterConfig) != HAL_OK) {
		Error_Handler();
	}
	sConfigOC.OCMode = TIM_OCMODE_PWM2;
	sConfigOC.Pulse = 54;
	sConfigOC.OCPolarity = TIM_OCPOLARITY_HIGH;
	sConfigOC.OCNPolarity = TIM_OCNPOLARITY_HIGH;
	sConfigOC.OCFastMode = TIM_OCFAST_DISABLE;
	sConfigOC.OCIdleState = TIM_OCIDLESTATE_RESET;
	sConfigOC.OCNIdleState = TIM_OCNIDLESTATE_RESET;
	if (HAL_TIM_PWM_ConfigChannel(&htim8, &sConfigOC, TIM_CHANNEL_1) != HAL_OK) {
		Error_Handler();
	}
	sBreakDeadTimeConfig.OffStateRunMode = TIM_OSSR_DISABLE;
	sBreakDeadTimeConfig.OffStateIDLEMode = TIM_OSSI_DISABLE;
	sBreakDeadTimeConfig.LockLevel = TIM_LOCKLEVEL_OFF;
	sBreakDeadTimeConfig.DeadTime = 0;
	sBreakDeadTimeConfig.BreakState = TIM_BREAK_DISABLE;
	sBreakDeadTimeConfig.BreakPolarity = TIM_BREAKPOLARITY_HIGH;
	sBreakDeadTimeConfig.BreakFilter = 0;
	sBreakDeadTimeConfig.Break2State = TIM_BREAK2_DISABLE;
	sBreakDeadTimeConfig.Break2Polarity = TIM_BREAK2POLARITY_HIGH;
	sBreakDeadTimeConfig.Break2Filter = 0;
	sBreakDeadTimeConfig.AutomaticOutput = TIM_AUTOMATICOUTPUT_DISABLE;
	if (HAL_TIMEx_ConfigBreakDeadTime(&htim8, &sBreakDeadTimeConfig) != HAL_OK) {
		Error_Handler();
	}
	HAL_TIM_MspPostInit(&htim8);

}

static void MX_UART7_Init(void) {

	huart7.Instance = UART7;
	huart7.Init.BaudRate = 115200;
	huart7.Init.WordLength = UART_WORDLENGTH_8B;
	huart7.Init.StopBits = UART_STOPBITS_1;
	huart7.Init.Parity = UART_PARITY_NONE;
	huart7.Init.Mode = UART_MODE_TX_RX;
	huart7.Init.HwFlowCtl = UART_HWCONTROL_NONE;
	huart7.Init.OverSampling = UART_OVERSAMPLING_16;
	huart7.Init.OneBitSampling = UART_ONE_BIT_SAMPLE_DISABLE;
	huart7.AdvancedInit.AdvFeatureInit = UART_ADVFEATURE_NO_INIT;
	if (HAL_UART_Init(&huart7) != HAL_OK) {
		Error_Handler();
	}

}

static void MX_USART1_UART_Init(void) {

	huart1.Instance = USART1;
	huart1.Init.BaudRate = 115200;
	huart1.Init.WordLength = UART_WORDLENGTH_8B;
	huart1.Init.StopBits = UART_STOPBITS_1;
	huart1.Init.Parity = UART_PARITY_NONE;
	huart1.Init.Mode = UART_MODE_TX_RX;
	huart1.Init.HwFlowCtl = UART_HWCONTROL_NONE;
	huart1.Init.OverSampling = UART_OVERSAMPLING_16;
	huart1.Init.OneBitSampling = UART_ONE_BIT_SAMPLE_DISABLE;
	huart1.AdvancedInit.AdvFeatureInit = UART_ADVFEATURE_NO_INIT;
	if (HAL_UART_Init(&huart1) != HAL_OK) {
		Error_Handler();
	}

}

static void MX_USART2_UART_Init(void) {

	huart2.Instance = USART2;
	huart2.Init.BaudRate = 115200;
	huart2.Init.WordLength = UART_WORDLENGTH_8B;
	huart2.Init.StopBits = UART_STOPBITS_1;
	huart2.Init.Parity = UART_PARITY_NONE;
	huart2.Init.Mode = UART_MODE_TX_RX;
	huart2.Init.HwFlowCtl = UART_HWCONTROL_NONE;
	huart2.Init.OverSampling = UART_OVERSAMPLING_16;
	huart2.Init.OneBitSampling = UART_ONE_BIT_SAMPLE_DISABLE;
	huart2.AdvancedInit.AdvFeatureInit = UART_ADVFEATURE_NO_INIT;
	if (HAL_UART_Init(&huart2) != HAL_OK) {
		Error_Handler();
	}

}

static void MX_USART3_UART_Init(void) {

	huart3.Instance = USART3;
	huart3.Init.BaudRate = 2000000;
	huart3.Init.WordLength = UART_WORDLENGTH_8B;
	huart3.Init.StopBits = UART_STOPBITS_1;
	huart3.Init.Parity = UART_PARITY_NONE;
	huart3.Init.Mode = UART_MODE_TX_RX;
	huart3.Init.HwFlowCtl = UART_HWCONTROL_NONE;
	huart3.Init.OverSampling = UART_OVERSAMPLING_16;
	huart3.Init.OneBitSampling = UART_ONE_BIT_SAMPLE_DISABLE;
	huart3.AdvancedInit.AdvFeatureInit = UART_ADVFEATURE_NO_INIT;
	if (HAL_UART_Init(&huart3) != HAL_OK) {
		Error_Handler();
	}

}

static void MX_DMA_Init(void) {

	/* DMA controller clock enable */
	__HAL_RCC_DMA2_CLK_ENABLE();
	__HAL_RCC_DMA1_CLK_ENABLE();

	/* DMA interrupt init */
	/* DMA1_Stream5_IRQn interrupt configuration */
	HAL_NVIC_SetPriority(DMA1_Stream5_IRQn, 0, 0);
	HAL_NVIC_EnableIRQ(DMA1_Stream5_IRQn);
	/* DMA2_Stream2_IRQn interrupt configuration */
	HAL_NVIC_SetPriority(DMA2_Stream2_IRQn, 0, 0);
	HAL_NVIC_EnableIRQ(DMA2_Stream2_IRQn);
	/* DMA2_Stream4_IRQn interrupt configuration */
	HAL_NVIC_SetPriority(DMA2_Stream4_IRQn, 0, 0);
	HAL_NVIC_EnableIRQ(DMA2_Stream4_IRQn);

}

static void MX_GPIO_Init(void) {
	GPIO_InitTypeDef GPIO_InitStruct = { 0 };

	/* GPIO Ports Clock Enable */
	__HAL_RCC_GPIOE_CLK_ENABLE();
	__HAL_RCC_GPIOC_CLK_ENABLE();
	__HAL_RCC_GPIOH_CLK_ENABLE();
	__HAL_RCC_GPIOA_CLK_ENABLE();
	__HAL_RCC_GPIOB_CLK_ENABLE();
	__HAL_RCC_GPIOD_CLK_ENABLE();

	/*Configure GPIO pin Output Level */
	HAL_GPIO_WritePin(SN6505_EN_GPIO_Port, SN6505_EN_Pin, GPIO_PIN_RESET);

	/*Configure GPIO pin Output Level */
	HAL_GPIO_WritePin(GPIOD,
	LED1_R_Pin | LED1_G_Pin | LED1_B_Pin | SN6505_END11_Pin | LED2_Pin | LED3_Pin | LED4_Pin | Switches_driver_enable_Pin | S1_Pin | S2_Pin | S3_Pin | S4_Pin | S5_Pin | S6_Pin, GPIO_PIN_RESET);

	/*Configure GPIO pin : SN6505_EN_Pin */
	GPIO_InitStruct.Pin = SN6505_EN_Pin;
	GPIO_InitStruct.Mode = GPIO_MODE_OUTPUT_PP;
	GPIO_InitStruct.Pull = GPIO_NOPULL;
	GPIO_InitStruct.Speed = GPIO_SPEED_FREQ_LOW;
	HAL_GPIO_Init(SN6505_EN_GPIO_Port, &GPIO_InitStruct);

	/*Configure GPIO pin : SYNC_Pin */
	GPIO_InitStruct.Pin = SYNC_Pin;
	GPIO_InitStruct.Mode = GPIO_MODE_IT_RISING;
	GPIO_InitStruct.Pull = GPIO_NOPULL;
	HAL_GPIO_Init(SYNC_GPIO_Port, &GPIO_InitStruct);

	/*Configure GPIO pins : LED1_R_Pin LED1_G_Pin LED1_B_Pin SN6505_END11_Pin
	 LED2_Pin LED3_Pin LED4_Pin Switches_driver_enable_Pin
	 S1_Pin S2_Pin S3_Pin S4_Pin
	 S5_Pin S6_Pin */
	GPIO_InitStruct.Pin = LED1_R_Pin | LED1_G_Pin | LED1_B_Pin | SN6505_END11_Pin | LED2_Pin | LED3_Pin | LED4_Pin | Switches_driver_enable_Pin | S1_Pin | S2_Pin | S3_Pin | S4_Pin | S5_Pin | S6_Pin;
	GPIO_InitStruct.Mode = GPIO_MODE_OUTPUT_PP;
	GPIO_InitStruct.Pull = GPIO_NOPULL;
	GPIO_InitStruct.Speed = GPIO_SPEED_FREQ_LOW;
	HAL_GPIO_Init(GPIOD, &GPIO_InitStruct);

	/*Configure GPIO pins : BTN1_Pin BTN2_Pin */
	GPIO_InitStruct.Pin = BTN1_Pin | BTN2_Pin;
	GPIO_InitStruct.Mode = GPIO_MODE_IT_FALLING;
	GPIO_InitStruct.Pull = GPIO_NOPULL;
	HAL_GPIO_Init(GPIOC, &GPIO_InitStruct);

	/* EXTI interrupt init*/
	HAL_NVIC_SetPriority(EXTI9_5_IRQn, 0, 0);
	HAL_NVIC_EnableIRQ(EXTI9_5_IRQn);

	HAL_NVIC_SetPriority(EXTI15_10_IRQn, 0, 0);
	HAL_NVIC_EnableIRQ(EXTI15_10_IRQn);

}

/* USER CODE BEGIN 4 */

void initialization() {
	//setStateToMeasureOnlyNoPolarization();
	HAL_UART_Receive_IT(&huart3, buffer_uart_rx, 1);	// start listening to commands
	HAL_TIM_Base_Start_IT(&htim5); 						// start timer for delay measuring
	switchingCircuitIdle();
	timeIndex = 0;
	remainingPolarizationTime = 0;
	remainingTimeToNextMeasurement = 0;
	set_LED1(0, 0, 0);
	setStateToDefault();								// set state in order to polarize with period 5 seconds
}

void runMeasurementMethod() {
	//there is no need to run measurement sequence, when the mode is "measureOnSync"
	if(!isModeMeasureOnSync()){
		runMeasurementSequence();
	}
	//if measurement method is set, run it
	if ((state.remainingMeasurements > 0) || (state.remainingMeasurements == -1) && ((state.extAdcActiveState == 1) || (state.intAdcActiveState == 1) || (state.compActiveState == 1))) {
		// check, if there isn't new user update before starting measurement
		if (newDataInBuffer()) {
			parseText(huart3);
		}
		// also update the state
		if (stateCanBeUpdated()) {
			updateState();
		}
		if (state.extAdcActiveState == 1) {
			measureWithExtADC();
		}
		if (state.intAdcActiveState == 1) {
			measureWithIntADC();
		}
		if (state.compActiveState == 1) {
			measureWithComp();
		}
	}
}

void measureWithExtADC() {
	// visualise with green color
	// Start SPI communication over DMA
	HAL_SPI_Receive_DMA(&hspi1, buffer_extAdc_1.uint8, samplesPerPeriod);
	//turn on timers
	HAL_TIM_PWM_Start_IT(&htim1, TIM_CHANNEL_1);	// SPI -  MCU NSS
	HAL_TIM_PWM_Start_IT(&htim1, TIM_CHANNEL_2); 	// SPI -  External ADC NSS
	HAL_TIM_PWM_Start_IT(&htim8, TIM_CHANNEL_1);	// SPI -  CLK
	set_LED2(1);
	set_LED1(0, 1, 0); // v
	state.extAdcMeasuring = 1;
	//keep "preparedToRunMeasurementPhase" low -> when mode is 1, in interrupt it can be set to high...
	state.preparedToRunMeasurementPhase = 0;
}

void measureWithIntADC() {
	// visualise with green color
	set_LED1(0, 1, 0);
	//start ADC
	HAL_ADC_Start_DMA(&hadc1, (uint32_t*) &buffer_intAdc_1.uint16, samplesPerPeriod);
	// start timer
	HAL_TIM_Base_Start_IT(&htim6);
	set_LED3(1);
	state.intAdcMeasuring = 1;
	//keep "preparedToRunMeasurementPhase" low -> when mode is 1, in interrupt it can be set to high...
	state.preparedToRunMeasurementPhase = 0;
}

void measureWithComp() {
	// visualise with green color
	set_LED1(0, 1, 0);
	// run the timer 4001 - 2 seconds for 2 kHz
	HAL_TIM_IC_Start_DMA(&htim2, TIM_CHANNEL_1, buffer_comp, 4001);
	set_LED4(1);
	state.compMeasuring = 1;
	//keep "preparedToRunMeasurementPhase" low -> when mode is 1, in interrupt it can be set to high...
	state.preparedToRunMeasurementPhase = 0;
}

void measurementWithExtAdcDone() {

	//stop DMA
	SPI1->CR2 &= ~SPI_CR2_RXDMAEN;

	filledBuffersExtADC++;
	//first buffer is filled
	if (filledBuffersExtADC == 1) {
		//start DMA again with second buffer
		HAL_SPI_Receive_DMA(&hspi1, buffer_extAdc_2.uint8, samplesPerPeriod);
	}

	//second buffer is filled, send data over UART
	else if (filledBuffersExtADC == 2) {
		// turn off timers
		HAL_TIM_PWM_Stop_IT(&htim1, TIM_CHANNEL_1);
		HAL_TIM_PWM_Stop_IT(&htim1, TIM_CHANNEL_2);
		HAL_TIM_PWM_Stop_IT(&htim8, TIM_CHANNEL_1);

		// stop measuring
		set_LED2(0);
		state.extAdcReadyToSend = 1;
		state.extAdcMeasuring = 0;

		filledBuffersExtADC = 0;

		goToIdleAfterMeasurement();
		//if this is the last measurement, go to idle state
		if (state.remainingMeasurements == 0) {
			state.extAdcActiveState = 0;
			state.extAdcSetState = 0;
		} else {
			prepareForPolarizationPhaseIfPossible();
		}
	}
}

void measurementWithIntAdcDone() {
	//stop the ADC when in interrupt
	//if function HAL_ADC_Stop_DMA(&hadc1) would be called, it wouldn't be possible to Start DMA again.
	ADC1->CR2 &= ~ADC_CR2_DMA;

	filledBuffersIntADC++;

	//first buffer is filled
	if (filledBuffersIntADC == 1) {
		HAL_ADC_Start_DMA(&hadc1, (uint32_t*) &buffer_intAdc_2.uint16, samplesPerPeriod);
	}

	//second buffer is filled, stop measuring
	else if (filledBuffersIntADC == 2) {
		// turn off timer
		HAL_TIM_Base_Stop_IT(&htim6);

		set_LED3(0);
		filledBuffersIntADC = 0;
		state.intAdcReadyToSend = 1;
		state.intAdcMeasuring = 0;

		goToIdleAfterMeasurement();

		//if this is the last measurement, go to idle state
		if (state.remainingMeasurements == 0) {
			state.intAdcActiveState = 0;
			state.intAdcSetState = 0;
		}
		// if there are remaning
		else {
			prepareForPolarizationPhaseIfPossible();
		}
	}
}

void measurementWithCompDone(TIM_HandleTypeDef *htim) {
	HAL_TIM_IC_Stop_DMA(&htim2, TIM_CHANNEL_1);
	set_LED4(0);
	state.compReadyToSend = 1;
	state.compMeasuring = 0;

	goToIdleAfterMeasurement();

	//if freq should be measured only once, after the measurement, go to idle state
	if (state.remainingMeasurements == 0) {
		state.compActiveState = 0;
		state.compSetState = 0;
	} else {
		prepareForPolarizationPhaseIfPossible();
	}
}

//comparator finished measuring
void HAL_TIM_IC_CaptureCallback(TIM_HandleTypeDef *htim) {
	if (htim->Instance == TIM2) {
		measurementWithCompDone(htim);
	}
}

//intADC - buffer filled
void HAL_ADC_ConvCpltCallback(ADC_HandleTypeDef *hadc) {
	if (hadc->Instance == ADC1) {
		measurementWithIntAdcDone();
	}
}

//char received with via USB
void HAL_UART_RxCpltCallback(UART_HandleTypeDef *huart) {
	if (huart->Instance == USART3) {
		//receivedCharIndex shouldn't exceed 100
		receivedChars[(receivedCharIndex++) % 100] = buffer_uart_rx[0];
		state.newDataInBuffer = 1;
		HAL_UART_Receive_IT(&huart3, buffer_uart_rx, 1);
	}
}

//extADC - buffer filled
void HAL_SPI_RxCpltCallback(SPI_HandleTypeDef *hspi) {
	if (hspi->Instance == SPI1) {
		measurementWithExtAdcDone();
	}
}

/* USER CODE END 4 */

void Error_Handler(void) {
}

/************************ (C) COPYRIGHT STMicroelectronics *****END OF FILE****/
